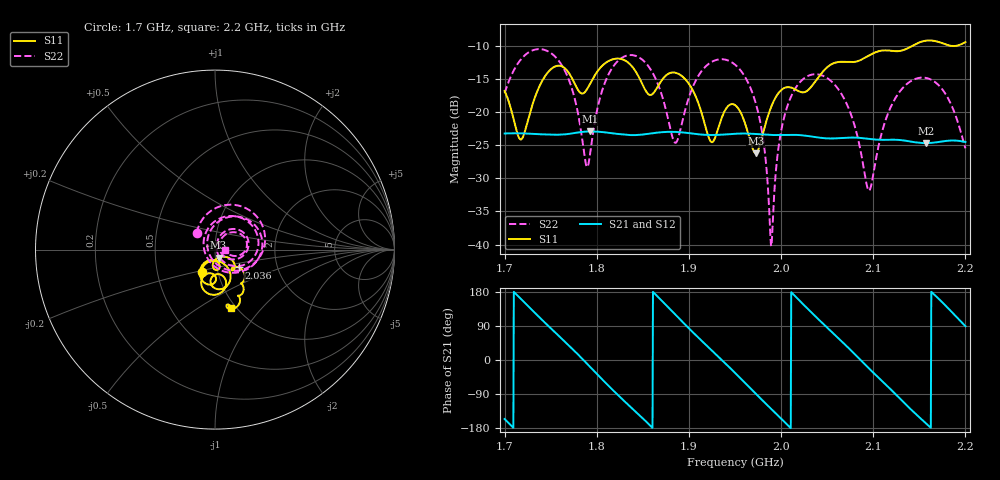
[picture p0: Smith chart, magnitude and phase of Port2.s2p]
# Hz S RI R 50
! CMT, CMT808U, 21440046, 21.4.3/4
! Date: 11/20/2025 11:26:55 PM
! Data: Format (Calibration Info)
! Freq	S11:Re/Im(F2)	S41:Re/Im(F2)	S14:Re/Im(F2)	S44:Re/Im(F2)
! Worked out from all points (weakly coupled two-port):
!   1001 points, 1.7 GHz to 2.2 GHz, reference 50 ohm
!   highest |S21| = -22.95 dB at 1.792 GHz (marker M1); lowest = -24.7 dB at 2.158 GHz (marker M2)
!   lowest |S11| = -26.2 dB at 1.972 GHz (marker M3), VSWR 1.10, Z = 51.8 - j4.65 ohm
!   |S11| at or under -10 dB: start of sweep to 2.143 GHz; 2.182648 GHz to 2.191569 GHz (8.921 MHz wide, 0.408 % of centre)
!   |S22| runs from -40.2 to -10.5 dB; largest |S21 - S12| = 0.0018
!   S11 on the Smith chart (normalised r, x): 1.7 GHz: 0.84, -0.21; 2.036 GHz: 1.28, -0.26; 2.2 GHz: 0.95, -0.69
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1.7e9  -0.0739 -0.123  -0.0627 -0.0283  -0.0637 -0.0272  -0.1018 0.094
1.718e9  0.00161 -0.062  -0.0649 0.0233  -0.0648 0.0247  0.046 0.2459
1.748e9  0.078 -0.1866  0.00167 0.0674  0.00305 0.0677  0.2791 0.0514
1.7695e9  -0.0199 -0.1966  0.0531 0.0429  0.0543 0.042  0.1326 -0.1159
1.7835e9  0.00806 -0.1374  0.0703 0.00622  0.0708 0.00477  -0.00484 -0.0671
1.7925e9  0.0503 -0.1536  0.0679 -0.0216  0.0678 -0.0231  -0.0428 0.0189
1.805e9  0.0566 -0.2119  0.0463 -0.0533  0.0454 -0.0546  -0.000557 0.1386
1.8225e9  -0.00961 -0.2519  -0.00162 -0.0682  -0.00316 -0.0686  0.1648 0.1749
1.867e9  0.00526 -0.1585  -0.0676 0.0179  -0.0675 0.0195  0.0906 -0.1293
1.8855e9  -0.048 -0.1911  -0.0343 0.0618  -0.0331 0.0628  -0.0558 -0.0174
1.9245e9  -0.0114 -0.0581  0.0601 0.0294  0.061 0.0281  0.1731 0.1628
1.95e9  0.00113 -0.1126  0.0567 -0.0382  0.056 -0.0397  0.2252 -0.0288
1.9725e9  0.0197 -0.0447  0.00111 -0.0681  -0.000587 -0.0683  0.0789 -0.0856
1.9895e9  0.0938 -0.0577  -0.0427 -0.0517  -0.0441 -0.0508  0.00943 0.00241
2.004e9  0.1084 -0.1064  -0.0645 -0.0185  -0.0651 -0.0169  0.0377 0.0872
2.0335e9  0.124 -0.0964  -0.0364 0.054  -0.0351 0.055  0.176 0.0741
2.036e9  0.1326 -0.0991  -0.0305 0.0571  -0.0291 0.0579  0.1815 0.063
2.0705e9  0.1467 -0.187  0.0502 0.0394  0.0512 0.0383  0.1042 -0.0549
2.095e9  0.159 -0.212  0.0583 -0.0229  0.0579 -0.0243  0.0254 0.00339
2.117e9  0.1336 -0.257  0.0182 -0.0589  0.0168 -0.0595  0.0575 0.0832
2.1575e9  0.1139 -0.3247  -0.0568 -0.0123  -0.0571 -0.0109  0.178 0.0272
2.2e9  0.0883 -0.3242  0.00067 0.0593  0.00211 0.0592  0.0529 -0.00482
